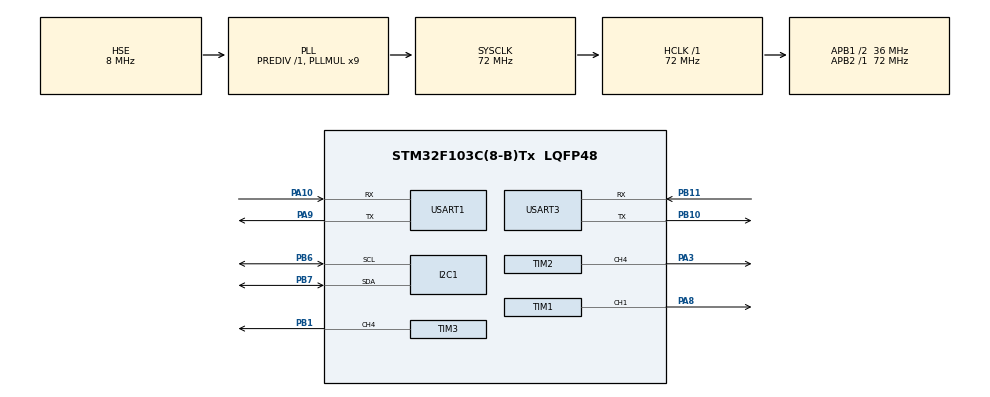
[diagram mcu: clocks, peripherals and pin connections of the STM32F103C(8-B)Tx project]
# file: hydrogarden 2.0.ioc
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Mcu.Family=STM32F1
Mcu.Name=STM32F103C(8-B)Tx
Mcu.Package=LQFP48
NVIC.PriorityGroup=NVIC_PRIORITYGROUP_4
PA10.Mode=Asynchronous
PA10.Signal=USART1_RX
PA13.Mode=Serial_Wire
PA13.Signal=SYS_JTMS-SWDIO
PA14.Mode=Serial_Wire
PA14.Signal=SYS_JTCK-SWCLK
PA3.Signal=S_TIM2_CH4
PA8.Signal=S_TIM1_CH1
PA9.Mode=Asynchronous
PA9.Signal=USART1_TX
PB1.Signal=S_TIM3_CH4
PB10.Mode=Asynchronous
PB10.Signal=USART3_TX
PB11.Mode=Asynchronous
PB11.Signal=USART3_RX
PB6.Mode=I2C
PB6.Signal=I2C1_SCL
PB7.Mode=I2C
PB7.Signal=I2C1_SDA
PD0-OSC_IN.Mode=HSE-External-Oscillator
PD0-OSC_IN.Signal=RCC_OSC_IN
PD1-OSC_OUT.Mode=HSE-External-Oscillator
PD1-OSC_OUT.Signal=RCC_OSC_OUT
ProjectManager.HeapSize=0x200
ProjectManager.StackSize=0x400
ProjectManager.TargetToolchain=STM32CubeIDE
RCC.AHBFreq_Value=72000000
RCC.APB1CLKDivider=RCC_HCLK_DIV2
RCC.APB1Freq_Value=36000000
RCC.APB1TimFreq_Value=72000000
RCC.APB2Freq_Value=72000000
RCC.APB2TimFreq_Value=72000000
RCC.HCLKFreq_Value=72000000
RCC.PLLMUL=RCC_PLL_MUL9
RCC.PLLSourceVirtual=RCC_PLLSOURCE_HSE
RCC.SYSCLKFreq_VALUE=72000000
RCC.SYSCLKSource=RCC_SYSCLKSOURCE_PLLCLK
RCC.USBFreq_Value=72000000
SH.S_TIM1_CH1.0=TIM1_CH1,PWM Generation1 CH1
SH.S_TIM2_CH4.0=TIM2_CH4,PWM Generation4 CH4
SH.S_TIM3_CH4.0=TIM3_CH4,PWM Generation4 CH4
TIM1.Channel-PWM\ Generation1\ CH1=TIM_CHANNEL_1
TIM2.Channel-PWM\ Generation4\ CH4=TIM_CHANNEL_4
TIM3.Channel-PWM\ Generation4\ CH4=TIM_CHANNEL_4
USART1.VirtualMode=VM_ASYNC
USART3.VirtualMode=VM_ASYNC
VP_TIM1_VS_ClockSourceINT.Mode=Internal
board=custom

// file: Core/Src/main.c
/* USER CODE BEGIN Header */
/**
  ******************************************************************************
  * @file           : main.c
  * @brief          : Main program body
  ******************************************************************************
  * @attention
  *
  * Copyright (c) 2025 STMicroelectronics.
  * All rights reserved.
  *
  * This software is licensed under terms that can be found in the LICENSE file
  * in the root directory of this software component.
  * If no LICENSE file comes with this software, it is provided AS-IS.
  *
  ******************************************************************************
  */
/* USER CODE END Header */
#include "main.h"

/* USER CODE BEGIN Includes */

#include <stdio.h>
#include <stdlib.h>
#include <string.h>

/* USER CODE END Includes */

I2C_HandleTypeDef hi2c1;

TIM_HandleTypeDef htim1;
TIM_HandleTypeDef htim2;
TIM_HandleTypeDef htim3;

UART_HandleTypeDef huart1;
UART_HandleTypeDef huart3;

/* USER CODE BEGIN PV */

uint8_t rxBuffer[100];

/* USER CODE END PV */

void SystemClock_Config(void);
static void MX_GPIO_Init(void);
static void MX_I2C1_Init(void);
static void MX_TIM1_Init(void);
static void MX_TIM2_Init(void);
static void MX_TIM3_Init(void);
static void MX_USART1_UART_Init(void);
static void MX_USART3_UART_Init(void);

int main(void)
{

  /* MCU Configuration--------------------------------------------------------*/

  /* Reset of all peripherals, Initializes the Flash interface and the Systick. */
  HAL_Init();

  /* Configure the system clock */
  SystemClock_Config();

  /* Initialize all configured peripherals */
  MX_GPIO_Init();
  MX_I2C1_Init();
  MX_TIM1_Init();
  MX_TIM2_Init();
  MX_TIM3_Init();
  MX_USART1_UART_Init();
  MX_USART3_UART_Init();
  /* USER CODE BEGIN 2 */

  HAL_TIM_PWM_Start(&htim1, TIM_CHANNEL_1);
  HAL_TIM_PWM_Start(&htim2, TIM_CHANNEL_4);
  HAL_TIM_PWM_Start(&htim3, TIM_CHANNEL_4);

  // fan_in TIM1_CHANNEL_1
  // fan_out TIM2_CHANNEL_4
  // aerator TIM3_CHANNEL_4

  /* USER CODE END 2 */

  /* Infinite loop */
  /* USER CODE BEGIN WHILE */
  while (1)
  {
      int idx = 0;
      uint8_t ch;

      // Clear buffer
      memset(rxBuffer, 0, sizeof(rxBuffer));

      // Read one byte at a time until newline or buffer full
      while (HAL_UART_Receive(&huart1, &ch, 1, 1000) == HAL_OK) {
          rxBuffer[idx++] = ch;
          if(ch == '\n' || idx >= sizeof(rxBuffer) - 1) {
              break;
          }
      }
      // Null-terminate the string
      rxBuffer[idx] = '\0';
      // Remove any trailing newline/carriage return
	  for (char *p = (char *)rxBuffer; *p != '\0'; p++) {
		  if (*p == '\n' || *p == '\r') {
			  *p = '\0';
			  break;
		  }
	  }

      // Parse the JSON command.
      char channel[20];
      char valueStr[10];
      int ret = sscanf((char *)rxBuffer,
          "{\"channel\": \"%[^\"]\", \"value\": \"%[^\"]\"}",
          channel, valueStr);
      if (ret == 2) {
    	  float value = atof(valueStr);
          if (strcmp(channel, "fan_in") == 0) {
              uint32_t compare = (uint32_t)(htim1.Init.Period * value);
              __HAL_TIM_SET_COMPARE(&htim1, TIM_CHANNEL_1, compare);
          } else if (strcmp(channel, "fan_out") == 0) {
              uint32_t compare = (uint32_t)(htim2.Init.Period * value);
              __HAL_TIM_SET_COMPARE(&htim2, TIM_CHANNEL_4, compare);
          } else if (strcmp(channel, "aerator") == 0) {
              uint32_t compare = (uint32_t)(htim3.Init.Period * value);
              __HAL_TIM_SET_COMPARE(&htim3, TIM_CHANNEL_4, compare);
          } else if (strcmp(channel, "light") == 0) {
        	  char buffer[11];
        	  sprintf(buffer, "%s\n", valueStr);
        	  HAL_UART_Transmit(&huart3, (uint8_t*)buffer, strlen(buffer), 1000);
          } else {
              char errMsg[50];
              snprintf(errMsg, sizeof(errMsg), "Error: Unknown channel \"%s\"\n", channel);
              HAL_UART_Transmit(&huart1, (uint8_t *)errMsg, strlen(errMsg), 1000);
          }
          // Optionally, echo the received command back:
          HAL_UART_Transmit(&huart1, rxBuffer, strlen((char *)rxBuffer), 1000);
      }

	  /* USER CODE END WHILE */

  }
}

void SystemClock_Config(void)
{
  RCC_OscInitTypeDef RCC_OscInitStruct = {0};
  RCC_ClkInitTypeDef RCC_ClkInitStruct = {0};

  /** Initializes the RCC Oscillators according to the specified parameters
  * in the RCC_OscInitTypeDef structure.
  */
  RCC_OscInitStruct.OscillatorType = RCC_OSCILLATORTYPE_HSE;
  RCC_OscInitStruct.HSEState = RCC_HSE_ON;
  RCC_OscInitStruct.HSEPredivValue = RCC_HSE_PREDIV_DIV1;
  RCC_OscInitStruct.HSIState = RCC_HSI_ON;
  RCC_OscInitStruct.PLL.PLLState = RCC_PLL_ON;
  RCC_OscInitStruct.PLL.PLLSource = RCC_PLLSOURCE_HSE;
  RCC_OscInitStruct.PLL.PLLMUL = RCC_PLL_MUL9;
  if (HAL_RCC_OscConfig(&RCC_OscInitStruct) != HAL_OK)
  {
    Error_Handler();
  }

  /** Initializes the CPU, AHB and APB buses clocks
  */
  RCC_ClkInitStruct.ClockType = RCC_CLOCKTYPE_HCLK|RCC_CLOCKTYPE_SYSCLK
                              |RCC_CLOCKTYPE_PCLK1|RCC_CLOCKTYPE_PCLK2;
  RCC_ClkInitStruct.SYSCLKSource = RCC_SYSCLKSOURCE_PLLCLK;
  RCC_ClkInitStruct.AHBCLKDivider = RCC_SYSCLK_DIV1;
  RCC_ClkInitStruct.APB1CLKDivider = RCC_HCLK_DIV2;
  RCC_ClkInitStruct.APB2CLKDivider = RCC_HCLK_DIV1;

  if (HAL_RCC_ClockConfig(&RCC_ClkInitStruct, FLASH_LATENCY_2) != HAL_OK)
  {
    Error_Handler();
  }
}

static void MX_I2C1_Init(void)
{

  hi2c1.Instance = I2C1;
  hi2c1.Init.ClockSpeed = 100000;
  hi2c1.Init.DutyCycle = I2C_DUTYCYCLE_2;
  hi2c1.Init.OwnAddress1 = 0;
  hi2c1.Init.AddressingMode = I2C_ADDRESSINGMODE_7BIT;
  hi2c1.Init.DualAddressMode = I2C_DUALADDRESS_DISABLE;
  hi2c1.Init.OwnAddress2 = 0;
  hi2c1.Init.GeneralCallMode = I2C_GENERALCALL_DISABLE;
  hi2c1.Init.NoStretchMode = I2C_NOSTRETCH_DISABLE;
  if (HAL_I2C_Init(&hi2c1) != HAL_OK)
  {
    Error_Handler();
  }

}

static void MX_TIM1_Init(void)
{

  TIM_ClockConfigTypeDef sClockSourceConfig = {0};
  TIM_MasterConfigTypeDef sMasterConfig = {0};
  TIM_OC_InitTypeDef sConfigOC = {0};
  TIM_BreakDeadTimeConfigTypeDef sBreakDeadTimeConfig = {0};

  htim1.Instance = TIM1;
  htim1.Init.Prescaler = 0;
  htim1.Init.CounterMode = TIM_COUNTERMODE_UP;
  htim1.Init.Period = 65535;
  htim1.Init.ClockDivision = TIM_CLOCKDIVISION_DIV1;
  htim1.Init.RepetitionCounter = 0;
  htim1.Init.AutoReloadPreload = TIM_AUTORELOAD_PRELOAD_DISABLE;
  if (HAL_TIM_Base_Init(&htim1) != HAL_OK)
  {
    Error_Handler();
  }
  sClockSourceConfig.ClockSource = TIM_CLOCKSOURCE_INTERNAL;
  if (HAL_TIM_ConfigClockSource(&htim1, &sClockSourceConfig) != HAL_OK)
  {
    Error_Handler();
  }
  if (HAL_TIM_PWM_Init(&htim1) != HAL_OK)
  {
    Error_Handler();
  }
  sMasterConfig.MasterOutputTrigger = TIM_TRGO_RESET;
  sMasterConfig.MasterSlaveMode = TIM_MASTERSLAVEMODE_DISABLE;
  if (HAL_TIMEx_MasterConfigSynchronization(&htim1, &sMasterConfig) != HAL_OK)
  {
    Error_Handler();
  }
  sConfigOC.OCMode = TIM_OCMODE_PWM1;
  sConfigOC.Pulse = 0;
  sConfigOC.OCPolarity = TIM_OCPOLARITY_HIGH;
  sConfigOC.OCNPolarity = TIM_OCNPOLARITY_HIGH;
  sConfigOC.OCFastMode = TIM_OCFAST_DISABLE;
  sConfigOC.OCIdleState = TIM_OCIDLESTATE_RESET;
  sConfigOC.OCNIdleState = TIM_OCNIDLESTATE_RESET;
  if (HAL_TIM_PWM_ConfigChannel(&htim1, &sConfigOC, TIM_CHANNEL_1) != HAL_OK)
  {
    Error_Handler();
  }
  sBreakDeadTimeConfig.OffStateRunMode = TIM_OSSR_DISABLE;
  sBreakDeadTimeConfig.OffStateIDLEMode = TIM_OSSI_DISABLE;
  sBreakDeadTimeConfig.LockLevel = TIM_LOCKLEVEL_OFF;
  sBreakDeadTimeConfig.DeadTime = 0;
  sBreakDeadTimeConfig.BreakState = TIM_BREAK_DISABLE;
  sBreakDeadTimeConfig.BreakPolarity = TIM_BREAKPOLARITY_HIGH;
  sBreakDeadTimeConfig.AutomaticOutput = TIM_AUTOMATICOUTPUT_DISABLE;
  if (HAL_TIMEx_ConfigBreakDeadTime(&htim1, &sBreakDeadTimeConfig) != HAL_OK)
  {
    Error_Handler();
  }
  HAL_TIM_MspPostInit(&htim1);

}

static void MX_TIM2_Init(void)
{

  TIM_MasterConfigTypeDef sMasterConfig = {0};
  TIM_OC_InitTypeDef sConfigOC = {0};

  htim2.Instance = TIM2;
  htim2.Init.Prescaler = 0;
  htim2.Init.CounterMode = TIM_COUNTERMODE_UP;
  htim2.Init.Period = 65535;
  htim2.Init.ClockDivision = TIM_CLOCKDIVISION_DIV1;
  htim2.Init.AutoReloadPreload = TIM_AUTORELOAD_PRELOAD_DISABLE;
  if (HAL_TIM_PWM_Init(&htim2) != HAL_OK)
  {
    Error_Handler();
  }
  sMasterConfig.MasterOutputTrigger = TIM_TRGO_RESET;
  sMasterConfig.MasterSlaveMode = TIM_MASTERSLAVEMODE_DISABLE;
  if (HAL_TIMEx_MasterConfigSynchronization(&htim2, &sMasterConfig) != HAL_OK)
  {
    Error_Handler();
  }
  sConfigOC.OCMode = TIM_OCMODE_PWM1;
  sConfigOC.Pulse = 0;
  sConfigOC.OCPolarity = TIM_OCPOLARITY_HIGH;
  sConfigOC.OCFastMode = TIM_OCFAST_DISABLE;
  if (HAL_TIM_PWM_ConfigChannel(&htim2, &sConfigOC, TIM_CHANNEL_4) != HAL_OK)
  {
    Error_Handler();
  }
  HAL_TIM_MspPostInit(&htim2);

}

static void MX_TIM3_Init(void)
{

  TIM_MasterConfigTypeDef sMasterConfig = {0};
  TIM_OC_InitTypeDef sConfigOC = {0};

  htim3.Instance = TIM3;
  htim3.Init.Prescaler = 0;
  htim3.Init.CounterMode = TIM_COUNTERMODE_UP;
  htim3.Init.Period = 65535;
  htim3.Init.ClockDivision = TIM_CLOCKDIVISION_DIV1;
  htim3.Init.AutoReloadPreload = TIM_AUTORELOAD_PRELOAD_DISABLE;
  if (HAL_TIM_PWM_Init(&htim3) != HAL_OK)
  {
    Error_Handler();
  }
  sMasterConfig.MasterOutputTrigger = TIM_TRGO_RESET;
  sMasterConfig.MasterSlaveMode = TIM_MASTERSLAVEMODE_DISABLE;
  if (HAL_TIMEx_MasterConfigSynchronization(&htim3, &sMasterConfig) != HAL_OK)
  {
    Error_Handler();
  }
  sConfigOC.OCMode = TIM_OCMODE_PWM1;
  sConfigOC.Pulse = 0;
  sConfigOC.OCPolarity = TIM_OCPOLARITY_HIGH;
  sConfigOC.OCFastMode = TIM_OCFAST_DISABLE;
  if (HAL_TIM_PWM_ConfigChannel(&htim3, &sConfigOC, TIM_CHANNEL_4) != HAL_OK)
  {
    Error_Handler();
  }
  HAL_TIM_MspPostInit(&htim3);

}

static void MX_USART1_UART_Init(void)
{

  huart1.Instance = USART1;
  huart1.Init.BaudRate = 115200;
  huart1.Init.WordLength = UART_WORDLENGTH_8B;
  huart1.Init.StopBits = UART_STOPBITS_1;
  huart1.Init.Parity = UART_PARITY_NONE;
  huart1.Init.Mode = UART_MODE_TX_RX;
  huart1.Init.HwFlowCtl = UART_HWCONTROL_NONE;
  huart1.Init.OverSampling = UART_OVERSAMPLING_16;
  if (HAL_UART_Init(&huart1) != HAL_OK)
  {
    Error_Handler();
  }

}

static void MX_USART3_UART_Init(void)
{

  huart3.Instance = USART3;
  huart3.Init.BaudRate = 115200;
  huart3.Init.WordLength = UART_WORDLENGTH_8B;
  huart3.Init.StopBits = UART_STOPBITS_1;
  huart3.Init.Parity = UART_PARITY_NONE;
  huart3.Init.Mode = UART_MODE_TX_RX;
  huart3.Init.HwFlowCtl = UART_HWCONTROL_NONE;
  huart3.Init.OverSampling = UART_OVERSAMPLING_16;
  if (HAL_UART_Init(&huart3) != HAL_OK)
  {
    Error_Handler();
  }

}

static void MX_GPIO_Init(void)
{

  /* GPIO Ports Clock Enable */
  __HAL_RCC_GPIOD_CLK_ENABLE();
  __HAL_RCC_GPIOA_CLK_ENABLE();
  __HAL_RCC_GPIOB_CLK_ENABLE();

}

void Error_Handler(void)
{
  __disable_irq();
  while (1)
  {
  }
}
